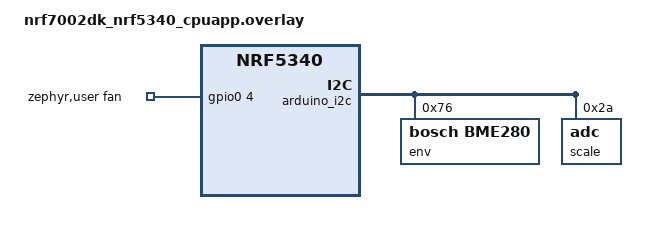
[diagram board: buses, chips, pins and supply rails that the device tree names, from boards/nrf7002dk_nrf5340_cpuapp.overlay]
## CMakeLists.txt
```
cmake_minimum_required(VERSION 3.20.0)
find_package(Zephyr REQUIRED HINTS $ENV{ZEPHYR_BASE})
project(dryspool_mvp)
target_sources(app PRIVATE
  src/main.c
  src/bme280.c
  src/nau7802.c
  src/fan.c
  src/profile.c
  src/calibration.c
  src/commands.c
  src/readings.c
)

if(CONFIG_DRYSPOOL_CLOUD)
  include(cmake/memfault.cmake)
  target_sources(app PRIVATE src/cloud/cloud.c src/cloud/telemetry.c src/cloud/box_shadow.c)
  target_sources_ifdef(CONFIG_SAMPLE_MEMFAULT_FOTA app PRIVATE src/ota/trial_image.c)
  if("${CONFIG_MEMFAULT_NCS_PROJECT_KEY}" STREQUAL "")
    message(WARNING "No Memfault project key configured. For release checks, build with -DEXTRA_CONF_FILE=<absolute path to firmware/local.conf>.")
  endif()
endif()
```

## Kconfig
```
config DRYSPOOL_CLOUD
	bool
	default y if BOARD_NRF7002DK_NRF5340_CPUAPP_NS

# Match the VERSION file used to sign the MCUboot image and identify OTA releases.
config APP_VERSION
	default "$(APPVERSION)"

rsource "../firmware/Kconfig"
```

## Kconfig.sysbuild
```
rsource "../firmware/Kconfig.sysbuild"
```

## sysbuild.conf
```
# Use the key already trusted by the deployed DrySpool bootloader.
SB_CONFIG_BOOT_SIGNATURE_TYPE_ECDSA_P256=y
SB_CONFIG_BOOT_SIGNATURE_KEY_FILE="\${APPLICATION_CONFIG_DIR}/../firmware/keys/dryspool-signing.pem"
```

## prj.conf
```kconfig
CONFIG_GPIO=y
CONFIG_I2C=y
CONFIG_SENSOR=y
CONFIG_BME280=y
CONFIG_SHELL=y
CONFIG_FLASH=y
CONFIG_FLASH_MAP=y
CONFIG_NVS=y
CONFIG_SETTINGS=y
CONFIG_SETTINGS_NVS=y
CONFIG_LOG=y
CONFIG_MAIN_STACK_SIZE=3072
```

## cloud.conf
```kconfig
CONFIG_DRYSPOOL_SIMULATED_SENSORS=n
CONFIG_MEMFAULT_METRICS_BATTERY_ENABLE=n
CONFIG_CONNECTION_THREAD_STACK_SIZE=8192
CONFIG_COAP_SHADOW=n
# All three Wi-Fi boxes run the same image. Release targeting uses chip ID and cohort.
CONFIG_MEMFAULT_NCS_FW_TYPE="dryspool-wifi-box"
```

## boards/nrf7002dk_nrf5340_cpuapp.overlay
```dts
&arduino_i2c {
	env: bme280@76 {
		compatible = "bosch,bme280";
		reg = <0x76>;
	};
	scale: adc@2a {
		reg = <0x2a>;
	};
};

/ {
	zephyr,user {
		fan-gpios = <&gpio0 4 GPIO_ACTIVE_HIGH>; /* Arduino A0 -> driver IN */
	};
};
```

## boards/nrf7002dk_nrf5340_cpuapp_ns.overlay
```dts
#include "../../firmware/boards/nrf7002dk_nrf5340_cpuapp_ns.overlay"
#include "nrf7002dk_nrf5340_cpuapp.overlay"
```

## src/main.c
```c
#include <errno.h>
#include <zephyr/kernel.h>
#include <zephyr/logging/log.h>

#include "calibration.h"
#include "environment.h"
#include "fan.h"
#include "profile.h"
#include "readings.h"
#include "scale.h"
#ifdef CONFIG_SAMPLE_MEMFAULT_FOTA
#include "ota/trial_image.h"
#endif

LOG_MODULE_REGISTER(dryspool, LOG_LEVEL_INF);

static void update_environment(struct dryspool_sample *sample, const struct profile *profile,
			       bool *fan_on)
{
	int rc = environment_read(&sample->temperature_mc, &sample->humidity_mpct);
	sample->env_valid = (rc == 0);
	if (sample->env_valid) {
		LOG_INF("temp_mC=%d rh_mPct=%d high_rh=%d", sample->temperature_mc,
			sample->humidity_mpct, sample->humidity_mpct >= profile->rh_on * 1000);
	} else {
		LOG_WRN("environment=unavailable err=%d", rc);
	}

	sample->fan_request = dryspool_get_fan_request();
	bool target = fan_mode_output(sample->fan_request.mode, *fan_on, sample->env_valid,
				      sample->humidity_mpct, profile->rh_off, profile->rh_on);
	sample->fan_valid = (fan_apply(target) == 0);
	if (sample->fan_valid) {
		*fan_on = target;
		sample->fan_on = target;
		LOG_INF("fan_command=%s", *fan_on ? "on" : "off");
	} else {
		LOG_ERR("fan_output=unavailable");
	}
}

static void update_weight(struct dryspool_sample *sample, struct profile *profile,
			  uint32_t starting_revision)
{
	int rc = scale_sample(&sample->raw_counts);
	if (rc != 0) {
		LOG_WRN("scale=unavailable err=%d", rc);
		return;
	}

	sample->raw_valid = true;
	/* A shell command can change the active spool or calibration while
	 * the ADC takes its five readings. Apply the new settings next cycle.
	 */
	if (profile_get(profile) != starting_revision) {
		LOG_INF("raw=%d remaining=unavailable (settings changed)", sample->raw_counts);
		return;
	}
	rc = profile_filament_g(profile, sample->raw_counts, &sample->filament_g);
	if (rc == -ENODATA) {
		LOG_INF("raw=%d remaining=unavailable (cal/spool needed)", sample->raw_counts);
	} else if (rc != 0) {
		LOG_WRN("raw=%d remaining=unavailable (outside scale range)", sample->raw_counts);
	} else {
		sample->grams_valid = true;
		LOG_INF("spool=%s raw=%d remaining_g=%d low=%d", profile->spool, sample->raw_counts,
			sample->filament_g, sample->filament_g <= profile->low_g);
	}
}

int main(void)
{
	bool storage_ready = (profile_init() == 0);
	bool fan_on = false;

	if (!storage_ready) {
		LOG_ERR("Settings unavailable; check flash storage");
	}
	if (fan_init() != 0) {
		LOG_ERR("Fan GPIO initialization failed");
	}
#ifdef CONFIG_SAMPLE_MEMFAULT_FOTA
	trial_image_init();
#endif
	for (;;) {
		struct dryspool_sample sample = {0};
		struct profile profile;
		uint32_t revision = profile_get(&profile);

		update_environment(&sample, &profile, &fan_on);
		update_weight(&sample, &profile, revision);
		dryspool_publish_sample(&sample);
#ifdef CONFIG_SAMPLE_MEMFAULT_FOTA
		trial_image_check(storage_ready && sample.env_valid && sample.raw_valid && sample.fan_valid);
#endif
		k_sleep(K_SECONDS(2));
	}
}
```

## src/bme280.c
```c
#include <errno.h>
#include <zephyr/drivers/sensor.h>
#include "environment.h"

static const struct device *const bme = DEVICE_DT_GET(DT_NODELABEL(env));

int environment_read(int32_t *temperature_mc, int32_t *humidity_mpct)
{
	struct sensor_value temperature, humidity;

	if (!device_is_ready(bme)) {
		return -ENODEV;
	}

	int rc = sensor_sample_fetch(bme);
	if (rc == 0) {
		rc = sensor_channel_get(bme, SENSOR_CHAN_AMBIENT_TEMP, &temperature);
	}
	if (rc == 0) {
		rc = sensor_channel_get(bme, SENSOR_CHAN_HUMIDITY, &humidity);
	}
	if (rc == 0) {
		*temperature_mc = sensor_value_to_milli(&temperature);
		*humidity_mpct = sensor_value_to_milli(&humidity);
	}
	return rc;
}
```

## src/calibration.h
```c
#pragma once

#include <stdint.h>

struct profile;
enum { SCALE_CAPACITY_G = 5000 };

/* These operations edit a candidate profile. The caller decides when to save it. */
void calibration_tare(struct profile *p, int32_t raw);
int calibration_set_reference(struct profile *p, int32_t raw, int32_t reference_g);

/* Returns -ENODATA before calibration/spool selection and -ERANGE outside the scale range. */
int profile_filament_g(const struct profile *p, int32_t raw, int32_t *grams);
```

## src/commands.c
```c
#include <errno.h>
#include <stdlib.h>
#include <string.h>
#include <zephyr/shell/shell.h>

#include "calibration.h"
#include "profile.h"
#include "scale.h"

static bool parse_limit(const char *s, long max, int32_t *out)
{
	char *end;
	long value = strtol(s, &end, 10);
	if (!*s || *end || value < 0 || value > max) {
		return false;
	}
	*out = value;
	return true;
}

static int tare(struct profile *p)
{
	int32_t raw;
	int rc = scale_sample(&raw);
	if (!rc) {
		calibration_tare(p, raw);
	}
	return rc;
}

static int calibrate(struct profile *p, const char *known_g)
{
	int32_t reference_g, raw;
	if (!p->tared || !parse_limit(known_g, SCALE_CAPACITY_G, &reference_g) || !reference_g) {
		return -EINVAL;
	}
	int rc = scale_sample(&raw);
	return rc ? rc : calibration_set_reference(p, raw, reference_g);
}

static int edit_profile(struct profile *p, size_t argc, char **argv)
{
	if (argc == 2 && !strcmp(argv[1], "tare")) {
		return tare(p);
	}
	if (argc == 3 && !strcmp(argv[1], "cal")) {
		return calibrate(p, argv[2]);
	}
	if (argc == 4 && !strcmp(argv[1], "spool") &&
	    *argv[2] && strlen(argv[2]) < sizeof(p->spool) &&
	    parse_limit(argv[3], SCALE_CAPACITY_G, &p->empty_g)) {
		strcpy(p->spool, argv[2]);
		return 0;
	}
	if (argc == 5 && !strcmp(argv[1], "limits") &&
	    parse_limit(argv[2], 100, &p->rh_off) &&
	    parse_limit(argv[3], 100, &p->rh_on) && p->rh_off < p->rh_on &&
	    parse_limit(argv[4], SCALE_CAPACITY_G, &p->low_g)) {
		return 0;
	}
	return -EINVAL;
}

static int configure(const struct shell *sh, size_t argc, char **argv)
{
	struct profile p;
	uint32_t revision = profile_get(&p);
	int rc = revision ? edit_profile(&p, argc, argv) : -EAGAIN;
	if (!rc) {
		rc = profile_save(&p, revision);
	}
	if (rc) {
		shell_error(sh, "Configuration unchanged (error %d). See dryspool help.", rc);
	} else {
		shell_print(sh, "Saved.");
	}
	return rc;
}

SHELL_CMD_ARG_REGISTER(dryspool, NULL,
	"tare | cal <known_g> | spool <id> <empty_g> | limits <off_RH> <on_RH> <low_g>",
	configure, 2, 3);
```

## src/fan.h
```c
#pragma once

#include <stdbool.h>
#include <stdint.h>

/* Humidity is in 0.001 % RH; thresholds are whole % RH. */
static inline bool fan_requested_on(bool previous, bool humidity_valid, int32_t humidity_mpct,
				    int32_t off_pct, int32_t on_pct)
{
	if (!humidity_valid || humidity_mpct <= off_pct * 1000) {
		return false;
	}
	return previous || humidity_mpct >= on_pct * 1000;
}

int fan_init(void);
int fan_apply(bool on);
```

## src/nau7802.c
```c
#include <errno.h>
#include <zephyr/drivers/i2c.h>
#include <zephyr/kernel.h>
#include <zephyr/sys/byteorder.h>
#include "scale.h"

static const struct i2c_dt_spec adc = I2C_DT_SPEC_GET(DT_NODELABEL(scale));
enum { POWER = 0, CTRL1 = 1, CTRL2 = 2, DATA = 0x12, ADC_CFG = 0x15 };

static int wait_bit(uint8_t reg, uint8_t mask, bool set, int timeout_ms)
{
	int64_t end = k_uptime_get() + timeout_ms;
	do {
		uint8_t v;
		int rc = i2c_reg_read_byte_dt(&adc, reg, &v);
		if (rc) return rc;
		if (!!(v & mask) == set) return 0;
		k_msleep(10);
	} while (k_uptime_get() < end);
	return -ETIMEDOUT;
}

static int nau_start(void)
{
	if (!i2c_is_ready_dt(&adc)) return -ENODEV;
	int rc = i2c_reg_write_byte_dt(&adc, POWER, BIT(0)); /* reset */
	if (rc) return rc;
	k_msleep(2);
	rc = i2c_reg_write_byte_dt(&adc, POWER, 0);
	if (!rc) rc = i2c_reg_write_byte_dt(&adc, POWER, BIT(1) | BIT(2));
	if (!rc) rc = wait_bit(POWER, BIT(3), true, 650);
	/* 3.0 V bridge excitation, gain 128, channel A, default 10 SPS. */
	if (!rc) rc = i2c_reg_write_byte_dt(&adc, CTRL1, (4 << 3) | 7);
	if (!rc) rc = i2c_reg_update_byte_dt(&adc, POWER, BIT(7) | BIT(4), BIT(7) | BIT(4));
	if (!rc) rc = i2c_reg_update_byte_dt(&adc, ADC_CFG, 0x30, 0x30);
	if (rc) return rc;
	k_msleep(600);
	rc = i2c_reg_write_byte_dt(&adc, CTRL2, BIT(2)); /* internal offset calibration */
	if (!rc) rc = wait_bit(CTRL2, BIT(2), false, 1500);
	uint8_t status;
	if (!rc) rc = i2c_reg_read_byte_dt(&adc, CTRL2, &status);
	return rc ? rc : ((status & BIT(3)) ? -EIO : 0);
}

static int nau_average(int32_t *counts)
{
	int32_t sum = 0;
	for (int i = 0; i < 6; i++) {
		uint8_t buf[3];
		int rc = wait_bit(POWER, BIT(5), true, 400);
		if (!rc) rc = i2c_burst_read_dt(&adc, DATA, buf, sizeof(buf));
		if (rc) return rc;
		int32_t v = sys_get_be24(buf);
		if (v & BIT(23)) v -= 1 << 24;
		if (v == -8388608 || v == 8388607) return -ERANGE;
		if (i) sum += v; /* discard pending conversion, average five fresh ones */
	}
	*counts = sum / 5;
	return 0;
}

static K_MUTEX_DEFINE(scale_lock);
static bool adc_ready;

int scale_sample(int32_t *raw)
{
	k_mutex_lock(&scale_lock, K_FOREVER);
	int rc = adc_ready ? 0 : nau_start();

	if (rc == 0) {
		rc = nau_average(raw);
	}
	adc_ready = (rc == 0);
	k_mutex_unlock(&scale_lock);
	return rc;
}
```

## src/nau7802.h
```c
#pragma once
#include <stdint.h>

int nau_start(void);
int nau_average(int32_t *counts);
```

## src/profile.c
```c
#include <errno.h>
#include <string.h>
#include <zephyr/kernel.h>
#include <zephyr/logging/log.h>
#include <zephyr/settings/settings.h>

#include "calibration.h"
#include "profile.h"

LOG_MODULE_REGISTER(dryspool_profile, LOG_LEVEL_INF);

#define PROFILE_KEY "dryspool/v1"
BUILD_ASSERT(sizeof(struct profile) == 56, "dryspool/v1 record format changed");

static struct profile active = {.empty_g = -1, .low_g = 100, .rh_off = 30, .rh_on = 40};
static uint32_t revision;
static struct k_spinlock state_lock;
static K_MUTEX_DEFINE(writer_lock);

static bool valid(const struct profile *p)
{
	return p->rh_off >= 0 && p->rh_on <= 100 && p->rh_off < p->rh_on &&
	       p->empty_g >= -1 && p->empty_g <= SCALE_CAPACITY_G &&
	       p->low_g >= 0 && p->low_g <= SCALE_CAPACITY_G &&
	       p->reference_g >= 0 && p->reference_g <= SCALE_CAPACITY_G &&
	       memchr(p->spool, '\0', sizeof(p->spool)) != NULL;
}

static void publish(const struct profile *p)
{
	k_spinlock_key_t key = k_spin_lock(&state_lock);
	active = *p;
	if (++revision == 0) {
		revision = 1;
	}
	k_spin_unlock(&state_lock, key);
}

uint32_t profile_get(struct profile *out)
{
	k_spinlock_key_t key = k_spin_lock(&state_lock);
	uint32_t current = revision;
	*out = active;
	k_spin_unlock(&state_lock, key);
	return current;
}

int profile_init(void)
{
	struct profile loaded;
	struct profile previous;
	int rc = 0;

	k_mutex_lock(&writer_lock, K_FOREVER);
	if (profile_get(&previous) == 0) {
		rc = settings_subsys_init();
		if (!rc) {
			ssize_t len = settings_load_one(PROFILE_KEY, &loaded, sizeof(loaded));
			if (len == sizeof(loaded) && valid(&loaded)) {
				publish(&loaded);
			} else if (len < 0 && len != -ENOENT) {
				rc = (int)len;
			} else {
				if (len > 0) {
					LOG_WRN("Invalid dryspool/v1 profile; using defaults");
				}
				publish(&previous);
			}
		}
	}
	k_mutex_unlock(&writer_lock);
	return rc;
}

int profile_save(const struct profile *p, uint32_t expected_revision)
{
	int rc;

	if (!valid(p)) {
		return -EINVAL;
	}
	/* Serialize competing flash writes. Readers take only state_lock and
	 * continue using the previously committed record while NVS is busy.
	 */
	k_mutex_lock(&writer_lock, K_FOREVER);
	k_spinlock_key_t key = k_spin_lock(&state_lock);
	bool can_save = revision != 0 && revision == expected_revision;
	k_spin_unlock(&state_lock, key);
	if (can_save) {
		rc = settings_save_one(PROFILE_KEY, p, sizeof(*p));
		if (!rc) {
			publish(p);
		}
	} else {
		rc = -EAGAIN;
	}
	k_mutex_unlock(&writer_lock);
	return rc;
}
```

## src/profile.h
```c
#pragma once

#include <stdint.h>

/* On-flash dryspool/v1 record. Preserve field order, widths and spool capacity. */
struct profile {
	int32_t zero, span, reference_g, empty_g, low_g, rh_off, rh_on, tared;
	char spool[24];
};

int profile_init(void);

/* Copies the entire profile. A zero revision means storage is not ready. */
uint32_t profile_get(struct profile *out);
/* Writes only if this revision is still active. Failed writes leave RAM unchanged. */
int profile_save(const struct profile *p, uint32_t expected_revision);
```

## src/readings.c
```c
#include <zephyr/kernel.h>

#include "readings.h"

/* Only copy data under this lock. No I2C, flash, logging or network I/O. */
static struct k_spinlock sample_lock;
static struct dryspool_sample latest;
static bool have_sample;

bool dryspool_read_latest(struct dryspool_sample *out)
{
	k_spinlock_key_t key = k_spin_lock(&sample_lock);
	bool valid = have_sample;

	*out = latest;
	k_spin_unlock(&sample_lock, key);
	return valid;
}

void dryspool_publish_sample(struct dryspool_sample *sample)
{
	sample->uptime_ms = k_uptime_get();
	k_spinlock_key_t key = k_spin_lock(&sample_lock);

	latest = *sample;
	have_sample = true;
	k_spin_unlock(&sample_lock, key);
}

static struct fan_request requested; /* Starts in automatic mode. */

static struct fan_request queued;
static int64_t deadline;

void dryspool_queue_fan_request(struct fan_request request, int64_t deadline_ms)
{
	k_spinlock_key_t key = k_spin_lock(&sample_lock);
	queued = request;
	deadline = deadline_ms;
	k_spin_unlock(&sample_lock, key);
}

void dryspool_set_fan_request(struct fan_request request)
{
	k_spinlock_key_t key = k_spin_lock(&sample_lock);
	requested = request;
	deadline = 0;
	k_spin_unlock(&sample_lock, key);
}

struct fan_request dryspool_get_fan_request(void)
{
	k_spinlock_key_t key = k_spin_lock(&sample_lock);
	if (deadline && k_uptime_get() < deadline) {
		requested = queued;
	}
	deadline = 0;
	struct fan_request request = requested;
	k_spin_unlock(&sample_lock, key);
	return request;
}
```

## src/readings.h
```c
#pragma once

#include <stdbool.h>
#include <stdint.h>

/* One completed pass of the local control loop. Missing data is explicitly
 * marked, so losing one sensor doesn't invalidate the other sensor's data.
 */
enum fan_mode { FAN_AUTO, FAN_ON, FAN_OFF };

struct fan_request {
	enum fan_mode mode;
	int32_t id;
};

struct dryspool_sample {
	struct fan_request fan_request;
	int64_t uptime_ms;
	int32_t temperature_mc;
	int32_t humidity_mpct;
	int32_t raw_counts;
	int32_t filament_g;
	bool env_valid;
	bool raw_valid;
	bool grams_valid;
	bool fan_valid;
	bool fan_on; /* GPIO command, not a tachometer reading */
};

/* Stamps the completed cycle with uptime and publishes it for other threads. */
void dryspool_publish_sample(struct dryspool_sample *sample);

/* Copies a consistent snapshot. False before the first pass completes. */
bool dryspool_read_latest(struct dryspool_sample *out);

void dryspool_queue_fan_request(struct fan_request request, int64_t deadline_ms);
struct fan_request dryspool_get_fan_request(void);
```

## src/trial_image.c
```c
#include <zephyr/dfu/mcuboot.h>
#include <zephyr/logging/log.h>
#include "memfault_fota_support.h"
#include "trial_image.h"

LOG_MODULE_REGISTER(dryspool_trial, LOG_LEVEL_INF);
static bool trial;

void trial_image_init(void)
{
	trial = !boot_is_img_confirmed();
	if (trial) {
		LOG_INF("Trial image: waiting for local sensors, settings and fan GPIO");
	}
}

void trial_image_check(bool local_health_ok)
{
	if (trial && local_health_ok) {
		memfault_fota_support_init();
		trial = !boot_is_img_confirmed();
	}
}
```
